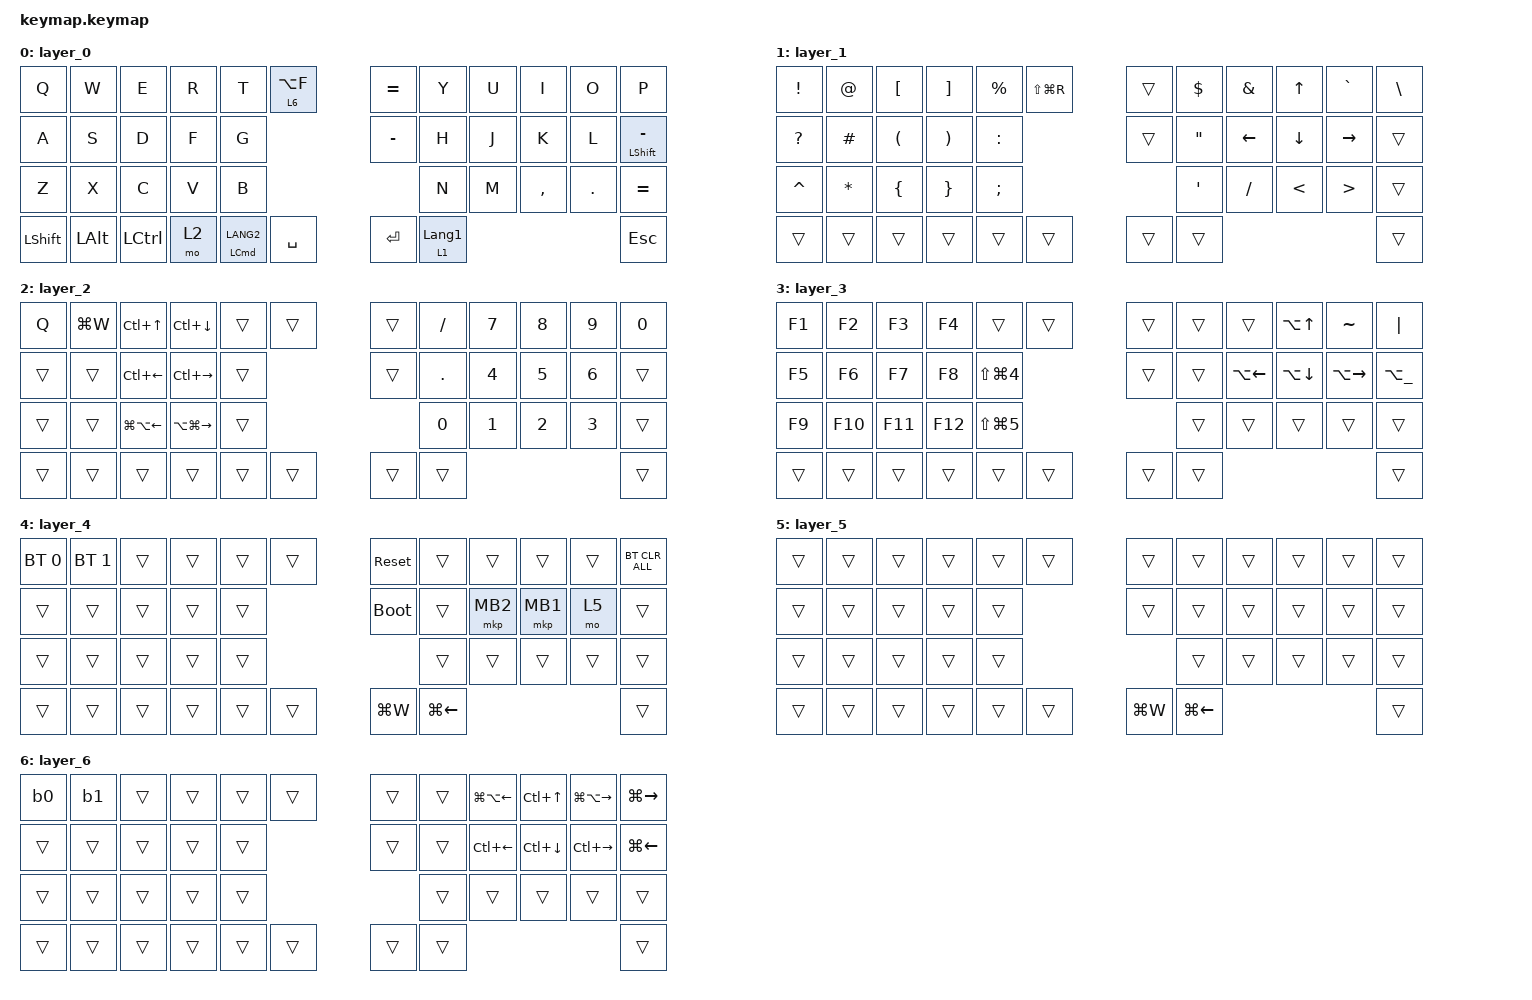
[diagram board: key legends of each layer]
#include <behaviors.dtsi>
#include <dt-bindings/zmk/bt.h>
#include <dt-bindings/zmk/keys.h>
#include <dt-bindings/zmk/pointing.h>

/ {
    macros {
        b0: new_macro {
            compatible = "zmk,behavior-macro";
            #binding-cells = <0>;
            bindings = <&bt BT_DISC 0 &bt BT_SEL 0>;
            label = "NEW_MACRO";
        };

        b1: b1 {
            compatible = "zmk,behavior-macro";
            #binding-cells = <0>;
            bindings = <&bt BT_DISC 1 &bt BT_SEL 1>;
            label = "B1";
        };
    };

    behaviors {
        behaviorHoldTap180: behaviorHoldTap180 {
            compatible = "zmk,behavior-hold-tap";
            label = "BEHAVIORHOLDTAP180";
            bindings = <&mo>, <&kp>;

            #binding-cells = <2>;
            require-prior-idle-ms = <0>;
            tapping-term-ms = <180>;
        };

        behaviorTapDance1: behaviorTapDance1 {
            compatible = "zmk,behavior-tap-dance";
            label = "BEHAVIORTAPDANCE1";
            #binding-cells = <0>;
            bindings = <&kp LANGUAGE_1>, <&kp ENTER>, <&mo 1>;
        };

        behaviorHoldTap150: behaviorHoldTap150 {
            compatible = "zmk,behavior-hold-tap";
            label = "BEHAVIORHOLDTAP150";
            bindings = <&kp>, <&kp>;

            #binding-cells = <2>;
            tapping-term-ms = <150>;
        };

        behaviorHoldTapTap: behaviorHoldTapTap {
            compatible = "zmk,behavior-hold-tap";
            label = "BEHAVIORHOLDTAPTAP";
            bindings = <&kp>, <&kp>;

            #binding-cells = <2>;
            tapping-term-ms = <150>;
            flavor = "tap-preferred";
        };
    };

    combos {
        compatible = "zmk,combos";

        shift {
            bindings = <&kp LEFT_SHIFT>;
            key-positions = <38 39>;
        };

        backspace {
            bindings = <&kp BACKSPACE>;
            key-positions = <19 20>;
        };

        del {
            bindings = <&kp TAB>;
            key-positions = <20 21>;
        };
    };

    keymap {
        compatible = "zmk,keymap";

        layer_0 {
            bindings = <
&kp Q           &kp W         &kp E             &kp R  &kp T                   &behaviorHoldTap180 6 LA(F)  &kp EQUAL  &kp Y                             &kp U  &kp I      &kp O       &kp P
&kp A           &kp S         &kp D             &kp F  &kp G                                                &kp MINUS  &kp H                             &kp J  &kp K      &kp L       &behaviorHoldTap150 LEFT_SHIFT MINUS
&kp Z           &kp X         &kp C             &kp V  &kp B                                                           &kp N                             &kp M  &kp COMMA  &kp PERIOD  &kp EQUAL
&kp LEFT_SHIFT  &kp LEFT_ALT  &kp LEFT_CONTROL  &mo 2  &mt LEFT_COMMAND LANG2  &kp SPACE                    &kp ENTER  &behaviorHoldTap180 1 LANGUAGE_1                                &kp ESCAPE
            >;
        };

        layer_1 {
            bindings = <
&kp EXCLAMATION  &kp AT_SIGN   &kp LEFT_BRACKET      &kp RIGHT_BRACKET      &kp PERCENT    &kp LS(LG(R))  &trans  &kp DOLLAR         &kp AMPERSAND   &kp UP_ARROW    &kp GRAVE         &kp BACKSLASH
&kp QUESTION     &kp HASH      &kp LEFT_PARENTHESIS  &kp RIGHT_PARENTHESIS  &kp COLON                     &trans  &kp DOUBLE_QUOTES  &kp LEFT_ARROW  &kp DOWN_ARROW  &kp RIGHT_ARROW   &trans
&kp CARET        &kp ASTERISK  &kp LEFT_BRACE        &kp RIGHT_BRACE        &kp SEMICOLON                         &kp SQT            &kp SLASH       &kp LESS_THAN   &kp GREATER_THAN  &trans
&trans           &trans        &trans                &trans                 &trans         &trans         &trans  &trans                                                               &trans
            >;
        };

        layer_2 {
            bindings = <
&kp Q   &kp LG(W)  &kp LC(UP_ARROW)        &kp LC(DOWN_ARROW)       &trans  &trans  &trans  &kp SLASH   &kp N7        &kp N8        &kp N9        &kp N0
&trans  &trans     &kp LC(LEFT_ARROW)      &kp LC(RIGHT_ARROW)      &trans          &trans  &kp PERIOD  &kp NUMBER_4  &kp N5        &kp NUMBER_6  &trans
&trans  &trans     &kp LG(LA(LEFT_ARROW))  &kp LA(LG(RIGHT_ARROW))  &trans                  &kp N0      &kp NUMBER_1  &kp NUMBER_2  &kp NUMBER_3  &trans
&trans  &trans     &trans                  &trans                   &trans  &trans  &trans  &trans                                                &trans
            >;
        };

        layer_3 {
            bindings = <
&kp F1  &kp F2   &kp F3   &kp F4   &trans                &trans  &trans  &trans  &trans              &kp LA(UP_ARROW)    &kp TILDE            &kp PIPE
&kp F5  &kp F6   &kp F7   &kp F8   &kp LS(LG(NUMBER_4))          &trans  &trans  &kp LA(LEFT_ARROW)  &kp LA(DOWN_ARROW)  &kp LA(RIGHT_ARROW)  &kp LA(UNDERSCORE)
&kp F9  &kp F10  &kp F11  &kp F12  &kp LS(LG(N5))                        &trans  &trans              &trans              &trans               &trans
&trans  &trans   &trans   &trans   &trans                &trans  &trans  &trans                                                               &trans
            >;
        };

        layer_4 {
            bindings = <
&bt BT_SEL 0  &bt BT_SEL 1  &trans  &trans  &trans  &trans  &sys_reset   &trans              &trans    &trans    &trans  &bt BT_CLR_ALL
&trans        &trans        &trans  &trans  &trans          &bootloader  &trans              &mkp MB2  &mkp MB1  &mo 5   &trans
&trans        &trans        &trans  &trans  &trans                       &trans              &trans    &trans    &trans  &trans
&trans        &trans        &trans  &trans  &trans  &trans  &kp LG(W)    &kp LG(LEFT_ARROW)                              &trans
            >;
        };

        layer_5 {
            bindings = <
&trans  &trans  &trans  &trans  &trans  &trans  &trans     &trans              &trans  &trans  &trans  &trans
&trans  &trans  &trans  &trans  &trans          &trans     &trans              &trans  &trans  &trans  &trans
&trans  &trans  &trans  &trans  &trans                     &trans              &trans  &trans  &trans  &trans
&trans  &trans  &trans  &trans  &trans  &trans  &kp LG(W)  &kp LG(LEFT_ARROW)                          &trans
            >;
        };

        layer_6 {
            bindings = <
&b0     &b1     &trans  &trans  &trans  &trans  &trans  &trans  &kp LG(LA(LEFT_ARROW))  &kp LC(UP_ARROW)    &kp LG(LA(RIGHT_ARROW))  &kp LG(RIGHT_ARROW)
&trans  &trans  &trans  &trans  &trans          &trans  &trans  &kp LC(LEFT_ARROW)      &kp LC(DOWN_ARROW)  &kp LC(RIGHT_ARROW)      &kp LG(LEFT_ARROW)
&trans  &trans  &trans  &trans  &trans                  &trans  &trans                  &trans              &trans                   &trans
&trans  &trans  &trans  &trans  &trans  &trans  &trans  &trans                                                                       &trans
            >;
        };
    };

    conditional_layers {
        compatible = "zmk,conditional-layers";

        hoge {
            if-layers = <1 2>;
            then-layer = <3>;
        };
    };
};
